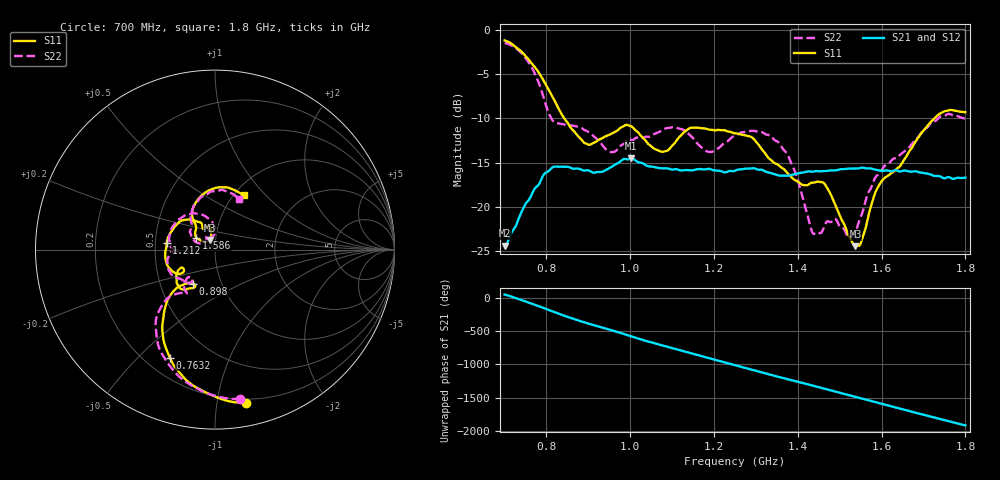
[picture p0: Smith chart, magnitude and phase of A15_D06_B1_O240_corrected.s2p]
! Created with skrf 1.9.0 (http://scikit-rf.org).
# Hz S RI R 50.0
!freq ReS11 ImS11 ReS21 ImS21 ReS12 ImS12 ReS22 ImS22
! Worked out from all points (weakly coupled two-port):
!   1601 points, 700 MHz to 1.8 GHz, reference 50 ohm
!   highest |S21| = -14.52 dB at 1.002 GHz (marker M1); lowest = -24.4 dB at 701.4 MHz (marker M2)
!   lowest |S11| = -24.4 dB at 1.537 GHz (marker M3), VSWR 1.13, Z = 47.1 + j5.07 ohm
!   |S11| at or under -10 dB: 842.5 MHz to 1.726 GHz (883.3 MHz wide, 68.8 % of centre)
!   |S22| runs from -23.5 to -1.5 dB; largest |S21 - S12| = 0.0035
!   S11 on the Smith chart (normalised r, x): 700 MHz: 0.17, -1.21; 763.2 MHz: 0.30, -0.62; 898 MHz: 0.73, -0.29; 1.212 GHz: 0.57, +0.04; 1.586 GHz: 0.81, +0.11; 1.8 GHz: 1.11, +0.76
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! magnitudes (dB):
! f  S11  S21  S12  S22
! 700 MHz  -1.2  -24.4  -24.1  -1.5
! 701.4 MHz  -1.2  -24.4  -24.0  -1.5
! 763.2 MHz  -3.7  -18.7  -18.7  -4.1
! 814.8 MHz  -7.6  -15.5  -15.6  -10.2
! 883.6 MHz  -12.4  -15.8  -15.7  -11.1
! 898 MHz  -12.9  -15.8  -15.9  -11.5
! 953.7 MHz  -11.8  -15.5  -15.5  -13.8
! 1.002 GHz  -10.9  -14.5  -14.6  -12.4
! 1.067 GHz  -13.6  -15.6  -15.5  -11.6
! 1.144 GHz  -11.1  -15.9  -15.9  -12.0
! 1.212 GHz  -11.3  -15.9  -15.9  -13.3
! 1.25 GHz  -11.7  -15.9  -15.8  -12.0
! 1.356 GHz  -15.4  -16.5  -16.4  -12.8
! 1.394 GHz  -17.0  -16.3  -16.3  -16.1
! 1.434 GHz  -17.2  -16.0  -16.0  -22.8
! 1.467 GHz  -17.6  -15.9  -15.9  -21.8
! 1.537 GHz  -24.4  -15.7  -15.6  -22.9
! 1.552 GHz  -23.8  -15.6  -15.6  -20.8
! 1.586 GHz  -18.2  -15.8  -15.8  -16.6
! 1.617 GHz  -16.4  -15.9  -15.9  -15.1
! 1.733 GHz  -9.7  -16.5  -16.5  -10.1
! 1.8 GHz  -9.3  -16.7  -16.7  -10.0
